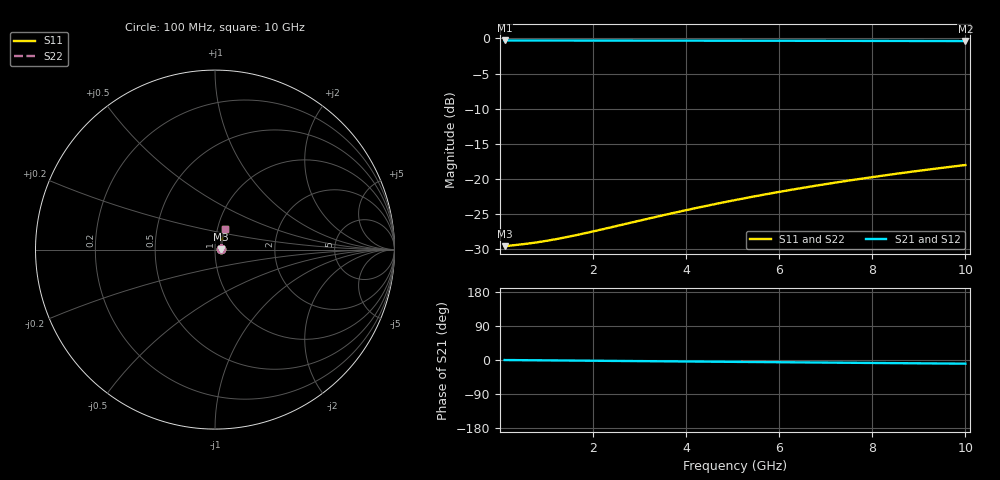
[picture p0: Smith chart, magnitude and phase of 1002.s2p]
# Hz S RI R 50.00
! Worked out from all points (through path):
!   100 points, 100 MHz to 10 GHz, reference 50 ohm
!   highest |S21| = -0.29 dB at 100 MHz (marker M1); lowest = -0.4 dB at 10 GHz (marker M2)
!   group delay of S21, straight-line fit = 2.7 ps
!   lowest |S11| = -29.6 dB at 100 MHz (marker M3), VSWR 1.07, Z = 53.4 + j0.124 ohm
!   |S11| at or under -10 dB: start of sweep to end of sweep
!   |S22| runs from -29.6 to -18.0 dB; largest |S21 - S12| = 0
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1e8  0.0331 0.00116  0.9669 -0.00165  0.9669 -0.00165  0.0331 0.00116
5e8  0.0338 0.00579  0.9662 -0.00823  0.9662 -0.00823  0.0338 0.00579
7e8  0.034 0.00811  0.966 -0.0115  0.966 -0.0115  0.034 0.00811
9e8  0.0342 0.0104  0.9658 -0.0148  0.9658 -0.0148  0.0342 0.0104
1.1e9  0.0344 0.0127  0.9656 -0.0181  0.9656 -0.0181  0.0344 0.0127
1.3e9  0.0346 0.015  0.9654 -0.0214  0.9654 -0.0214  0.0346 0.015
1.5e9  0.0348 0.0173  0.9652 -0.0246  0.9652 -0.0246  0.0348 0.0173
1.8e9  0.0351 0.0208  0.9649 -0.0296  0.9649 -0.0296  0.0351 0.0208
2.2e9  0.0355 0.0254  0.9644 -0.0361  0.9644 -0.0361  0.0355 0.0254
3.4e9  0.0372 0.0392  0.9627 -0.0557  0.9627 -0.0557  0.0372 0.0392
3.9e9  0.038 0.0449  0.9618 -0.0639  0.9618 -0.0639  0.038 0.0449
4.3e9  0.0387 0.0494  0.961 -0.0704  0.961 -0.0704  0.0387 0.0494
4.7e9  0.0395 0.054  0.9602 -0.0769  0.9602 -0.0769  0.0395 0.054
5.1e9  0.0403 0.0585  0.9593 -0.0833  0.9593 -0.0833  0.0403 0.0585
5.5e9  0.0412 0.063  0.9584 -0.0898  0.9584 -0.0898  0.0412 0.063
5.9e9  0.0422 0.0675  0.9574 -0.0963  0.9574 -0.0963  0.0422 0.0675
6.3e9  0.0432 0.072  0.9563 -0.1027  0.9563 -0.1027  0.0432 0.072
6.7e9  0.0442 0.0765  0.9552 -0.1091  0.9552 -0.1091  0.0442 0.0765
7.5e9  0.0465 0.0854  0.9527 -0.1219  0.9527 -0.1219  0.0465 0.0854
8.4e9  0.0494 0.0953  0.9497 -0.1362  0.9497 -0.1362  0.0494 0.0953
9.2e9  0.0522 0.104  0.9467 -0.1488  0.9467 -0.1488  0.0522 0.104
1e10  0.0552 0.1126  0.9435 -0.1613  0.9435 -0.1613  0.0552 0.1126
